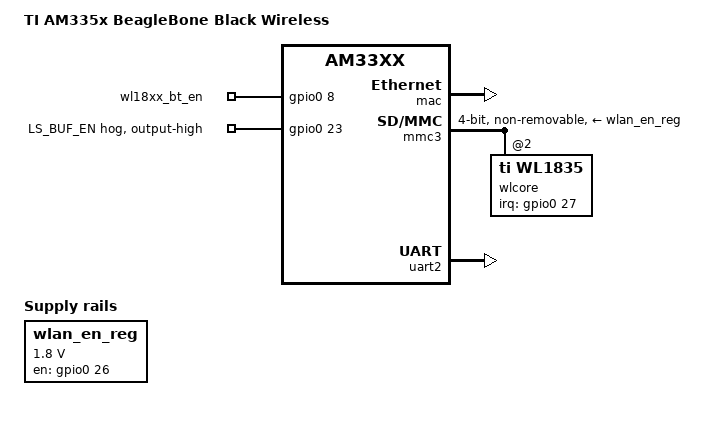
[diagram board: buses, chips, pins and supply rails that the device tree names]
// SPDX-License-Identifier: GPL-2.0-only
/*
 * Copyright (C) 2012 Texas Instruments Incorporated - http://www.ti.com/
 */

/dts-v1/;
/plugin/;

#include <dt-bindings/gpio/gpio.h>
#include <dt-bindings/pinctrl/am33xx.h>
#include <dt-bindings/interrupt-controller/irq.h>

/ {
	/*
	 * Free up the pins used by the cape from the pinmux helpers.
	 */
	fragment@0 {
		target = <&ocp>;
		__overlay__ {
			P8_35_pinmux { status = "disabled"; };	/* lcd_data12.gpio0_8 BT_EN */

			P8_11_pinmux { status = "disabled"; };	/* gpmc_ad13.mmc2_dat1 */
			P8_12_pinmux { status = "disabled"; };	/* gpmc_ad12.mmc2_dat0 */
			P8_14_pinmux { status = "disabled"; };	/* gpmc_ad10.gpio0_26 WL_EN */
			P8_15_pinmux { status = "disabled"; };	/* gpmc_ad15.mmc2_dat3 */
			P8_16_pinmux { status = "disabled"; };	/* gpmc_ad14.mmc2_dat2 */
			P8_17_pinmux { status = "disabled"; };	/* gpmc_ad11.gpio0_27 WL_IRQ */
			P8_18_pinmux { status = "disabled"; };	/* gpmc_clk.mmc2_clk */

			P8_13_pinmux { status = "disabled"; };	/* gpmc_ad9.gpio0_23 LS_BUF_EN */

			// BT UART
			P9_21_pinmux { status = "disabled"; };	/* (B17) spi0_d0.uart2_txd */
			P9_22_pinmux { status = "disabled"; };	/* (A17) spi0_sclk.uart2_rxd */
			P8_37_pinmux { status = "disabled"; };	/* (U1) lcd_data8.uart2_ctsn */
			P8_38_pinmux { status = "disabled"; };	/* (U2) lcd_data9.uart2_rtsn */

			P9_41_pinmux { status = "disabled"; };  /* (D14) xdma_event_intr1.clkout2 */
		};
	};

	fragment@1 {
		target-path="/";
		__overlay__ {
			model = "TI AM335x BeagleBone Black Wireless";
			compatible = "ti,am335x-bone-black", "ti,am335x-bone", "ti,am33xx";

			/*
			 * Helper to show loaded overlays under: /proc/device-tree/chosen/overlays/
			 */
			chosen {
				overlays {
					BB-BBBW-WL1835-00A0 = __TIMESTAMP__;
				};
			};

			wlan_en_reg: fixedregulator@2 {
				compatible = "regulator-fixed";
				regulator-name = "wlan-en-regulator";
				regulator-min-microvolt = <1800000>;
				regulator-max-microvolt = <1800000>;
				startup-delay-us= <70000>;

				/* WL_EN */
				gpio = <&gpio0 26 0>;
				enable-active-high;
			};

			leds {
				pinctrl-names = "default";
				pinctrl-0 = <&wl18xx_pins>;
				compatible = "gpio-leds";

				wl18xx_bt_en {
					label = "wl18xx_bt_en";
					gpios = <&gpio0 8 GPIO_ACTIVE_HIGH>;
					default-state = "off";
				};
			};
		};
	};

	fragment@2 {
		target = <&am33xx_pinmux>;
		__overlay__ {
			wl18xx_pins: pinmux_wl18xx_pins {
				pinctrl-single,pins = <
					AM33XX_IOPAD(0x8D0, PIN_OUTPUT_PULLDOWN | MUX_MODE7)	/* lcd_data12.gpio0_8 BT_EN*/
				>;
			};

			wlbtbuf_pin: pinmux_wlbtbuf_pin {
				pinctrl-single,pins = <
					AM33XX_IOPAD(0x824, PIN_OUTPUT_PULLUP | MUX_MODE7)	/* gpmc_ad9.gpio0_23 LS_BUF_EN */
				>;
			};

			mmc3_pins: pinmux_mmc3_pins {
				pinctrl-single,pins = <
					AM33XX_IOPAD(0x830, PIN_INPUT_PULLUP | MUX_MODE3)	/* gpmc_ad12.mmc2_dat0 */
					AM33XX_IOPAD(0x834, PIN_INPUT_PULLUP | MUX_MODE3)	/* gpmc_ad13.mmc2_dat1 */
					AM33XX_IOPAD(0x838, PIN_INPUT_PULLUP | MUX_MODE3)	/* gpmc_ad14.mmc2_dat2 */
					AM33XX_IOPAD(0x83c, PIN_INPUT_PULLUP | MUX_MODE3)	/* gpmc_ad15.mmc2_dat3 */
					AM33XX_IOPAD(0x888, PIN_INPUT_PULLUP | MUX_MODE3)	/* gpmc_csn3.mmc2_cmd */
					AM33XX_IOPAD(0x88c, PIN_INPUT_PULLUP | MUX_MODE3)	/* gpmc_clk.mmc2_clk */
				>;
			};

			mmc3_pins_sleep: pinmux_mmc3_pins_sleep {
				pinctrl-single,pins = <
					AM33XX_IOPAD(0x830, PIN_INPUT_PULLDOWN | MUX_MODE3)	/* gpmc_ad12.mmc2_dat0 */
					AM33XX_IOPAD(0x834, PIN_INPUT_PULLDOWN | MUX_MODE3)	/* gpmc_ad13.mmc2_dat1 */
					AM33XX_IOPAD(0x838, PIN_INPUT_PULLDOWN | MUX_MODE3)	/* gpmc_ad14.mmc2_dat2 */
					AM33XX_IOPAD(0x83c, PIN_INPUT_PULLDOWN | MUX_MODE3)	/* gpmc_ad15.mmc2_dat3 */
					AM33XX_IOPAD(0x888, PIN_INPUT_PULLDOWN | MUX_MODE3)	/* gpmc_csn3.mmc2_cmd */
					AM33XX_IOPAD(0x88c, PIN_INPUT_PULLDOWN | MUX_MODE3)	/* gpmc_clk.mmc2_clk */
				>;
			};

			/* wl18xx card enable/irq GPIOs. */
			wlan_pins: pinmux_wlan_pins {
				pinctrl-single,pins = <
					AM33XX_IOPAD(0x828, PIN_OUTPUT_PULLDOWN | MUX_MODE7)	/* gpmc_ad10.gpio0_26 WL_EN */
					AM33XX_IOPAD(0x82C, PIN_INPUT_PULLDOWN | MUX_MODE7)	/* gpmc_ad11.gpio0_27 WL_IRQ */
					/* a 32.768KHz clock feed to WL18XX pin EXT_32K */
					AM33XX_IOPAD(0x9B4, PIN_OUTPUT_PULLDOWN | MUX_MODE3)    /* xdma_event_intr1.clkout2 */
				>;
			};

			/* wl18xx card enable/irq GPIOs. */
			wlan_pins_sleep: pinmux_wlan_pins_sleep {
				pinctrl-single,pins = <
					AM33XX_IOPAD(0x828, PIN_OUTPUT_PULLDOWN | MUX_MODE7)	/* gpmc_ad10.gpio0_26 WL_EN */
					AM33XX_IOPAD(0x82C, PIN_INPUT_PULLDOWN | MUX_MODE7)	/* gpmc_ad11.gpio0_27 WL_IRQ */
				>;
			};

			uart2_pins_default: pinmux_uart2_pins_default {
				pinctrl-single,pins = <
					AM33XX_IOPAD(0x950, PIN_INPUT_PULLUP | MUX_MODE1 )	/* (A17) spi0_sclk.uart2_rxd */
					AM33XX_IOPAD(0x954, PIN_OUTPUT_PULLDOWN | MUX_MODE1 )	/* (B17) spi0_d0.uart2_txd */
					AM33XX_IOPAD(0x8C0, PIN_INPUT | MUX_MODE6 )		/* (U1) lcd_data8.uart2_ctsn */
					AM33XX_IOPAD(0x8C4, PIN_OUTPUT_PULLDOWN | MUX_MODE6 )	/* (U2) lcd_data9.uart2_rtsn */
				>;
			};

			uart2_pins_sleep: pinmux_uart2_pins_sleep {
				pinctrl-single,pins = <
					AM33XX_IOPAD(0x950, PIN_INPUT_PULLDOWN | MUX_MODE7 )	/* (A17) spi0_sclk.uart2_rxd */
					AM33XX_IOPAD(0x954, PIN_INPUT_PULLDOWN | MUX_MODE7 )	/* (B17) spi0_d0.uart2_txd */
					AM33XX_IOPAD(0x8C0, PIN_INPUT_PULLDOWN | MUX_MODE7 )	/* (U1) lcd_data8.uart2_ctsn */
					AM33XX_IOPAD(0x8C4, PIN_INPUT_PULLDOWN | MUX_MODE7 )	/* (U2) lcd_data9.uart2_rtsn */
				>;
			};
		};
	};

	fragment@200 {
		target = <&mac>;
		__overlay__ {
			status = "okay";
		};
	};

	fragment@3 {
		target = <&mmc3>;
		__overlay__ {
			dmas = <&edma_xbar 12 0 1
				&edma_xbar 13 0 2>;
			dma-names = "tx", "rx";
			status = "okay";
			vmmc-supply = <&wlan_en_reg>;
			bus-width = <4>;
			non-removable;
			cap-power-off-card;
			ti,needs-special-hs-handling;
			keep-power-in-suspend;
			pinctrl-names = "default", "sleep";
			pinctrl-0 = <&mmc3_pins &wlan_pins &wlbtbuf_pin>;
			pinctrl-1 = <&mmc3_pins_sleep &wlan_pins_sleep &wlbtbuf_pin>;

			#address-cells = <1>;
			#size-cells = <0>;
			wlcore: wlcore@2 {
				compatible = "ti,wl1835";
				reg = <2>;
				interrupt-parent = <&gpio0>;
				interrupts = <27 IRQ_TYPE_EDGE_RISING>;
			};
		};
	};

	fragment@4 {
		target = <&uart2>;
		__overlay__ {
			pinctrl-names = "default", "sleep";
			pinctrl-0 = <&uart2_pins_default>;
			pinctrl-1 = <&uart2_pins_sleep>;
			status = "okay";
		};
	};

	fragment@5 {
		target = <&gpio0>;
		__overlay__ {
			ls_buf_en {
				gpio-hog;
				gpios = <23 GPIO_ACTIVE_HIGH>;
				output-high;
				line-name = "LS_BUF_EN";
			};
		};
	};
};
